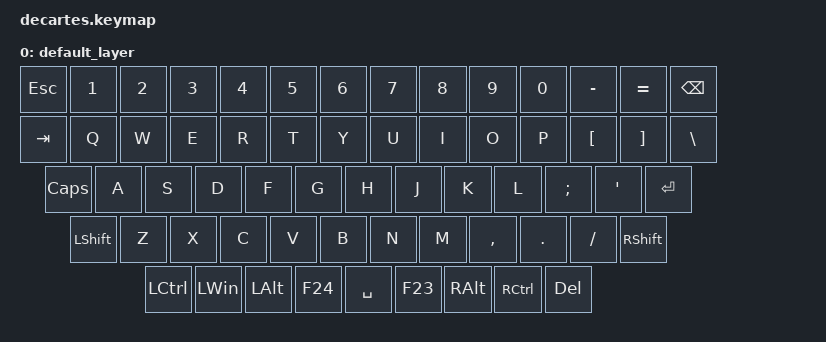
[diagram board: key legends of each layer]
#include <behaviors.dtsi>
#include <dt-bindings/zmk/keys.h>
#include <dt-bindings/zmk.bt.h>

/ {
    keymap {
        compatible = "zmk,keymap";

        default_layer {
            bindings =<
            &kp ESC &kp N1 &kp N2 &kp N3 &kp N4 &kp N5 &kp N6 &kp N7 &kp N8 &kp N9 &kp N0 &kp MINUS &kp EQUAL &kp BSPC
            &kp TAB &kp Q &kp W &kp E &kp R &kp T &kp Y &kp U &kp I &kp O &kp P &kp LBKT &kp RBKT &kp BSLH
            &kp CAPS &kp A &kp S &kp D &kp F &kp G &kp H &kp J &kp K &kp L &kp SEMI &kp SQT &kp ENTER
            &kp LSHFT &kp Z &kp X &kp C &kp V &kp B &kp N &kp M &kp COMMA &kp DOT &kp FSLH &kp RSHFT
            &kp LCTRL &kp LWIN &kp LALT &kp F24 &kp SPACE &kp F23 &kp RALT &kp RCTRL &kp DEL 
            >;
        };
    };
};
